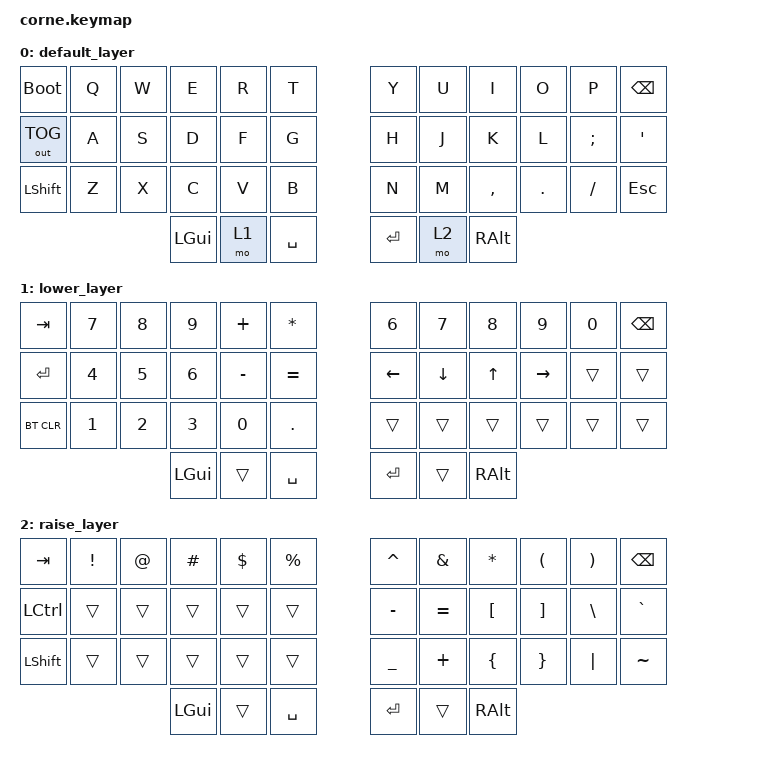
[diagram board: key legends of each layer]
// #include "../../../corne.keymap"

/*
 * Copyright (c) 2020 The ZMK Contributors
 *
 * SPDX-License-Identifier: MIT
 */

#include <behaviors.dtsi>
#include <dt-bindings/zmk/keys.h>
#include <dt-bindings/zmk/bt.h>
#include <dt-bindings/zmk/outputs.h>

/ {
        keymap {
                compatible = "zmk,keymap";

                default_layer {
// -----------------------------------------------------------------------------------------
// |  TAB |  Q  |  W  |  E  |  R  |  T  |   |  Y  |  U   |  I  |  O  |  P  | BKSP |
// | CTRL |  A  |  S  |  D  |  F  |  G  |   |  H  |  J   |  K  |  L  |  ;  |  '   |
// | SHFT |  Z  |  X  |  C  |  V  |  B  |   |  N  |  M   |  ,  |  .  |  /  | ESC  |
//                    | GUI | LWR | SPC |   | ENT | RSE  | ALT |
                        bindings = <
   &bootloader   &kp Q &kp W &kp E &kp R &kp T   &kp Y &kp U  &kp I     &kp O   &kp P    &kp BSPC
   &out OUT_TOG &kp A &kp S &kp D &kp F &kp G   &kp H &kp J  &kp K     &kp L   &kp SEMI &kp SQT
   &kp LSHFT &kp Z &kp X &kp C &kp V &kp B   &kp N &kp M  &kp COMMA &kp DOT &kp FSLH &kp ESC
                  &kp LGUI &mo 1 &kp SPACE   &kp RET &mo 2 &kp RALT
                        >;
                };
                lower_layer {
// -----------------------------------------------------------------------------------------
// |  TAB |  7  |  8  |  9  |  +  |  *  |   |  6  |  7  |  8  |  9  |  0  | BKSP |
// | RET  |  4  |  5  |  6  |  -  |  =  |   | LFT | DWN |  UP | RGT |     |      |
// | BTCLR|  1  |  2  |  3  |  0  |  .  |   |     |     |     |     |     |      |
//                    | GUI |     | SPC |   | ENT |     | ALT |
                        bindings = <
   &kp TAB    &kp N7       &kp N8       &kp N9       &kp PLUS     &kp ASTRK      &kp N6   &kp N7   &kp N8 &kp N9    &kp N0 &kp BSPC
   &kp RET    &kp N4       &kp N5       &kp N6       &kp MINUS    &kp EQUAL      &kp LEFT &kp DOWN &kp UP &kp RIGHT &trans &trans
   &bt BT_CLR &kp N1       &kp N2       &kp N3       &kp N0       &kp DOT        &trans   &trans   &trans &trans    &trans &trans
                                    &kp LGUI     &trans       &kp SPACE      &kp RET  &trans   &kp RALT
                        >;
                };

                raise_layer {
// -----------------------------------------------------------------------------------------
// |  TAB |  !  |  @  |  #  |  $  |  %  |   |  ^  |  &  |  *  |  (  |  )  | BKSP |
// | CTRL |     |     |     |     |     |   |  -  |  =  |  [  |  ]  |  \  |  `   |
// | SHFT |     |     |     |     |     |   |  _  |  +  |  {  |  }  | "|" |  ~   |
//                    | GUI |     | SPC |   | ENT |     | ALT |
                        bindings = <
   &kp  TAB  &kp EXCL &kp AT &kp HASH &kp DLLR &kp PRCNT   &kp CARET &kp AMPS  &kp ASTRK &kp LPAR &kp RPAR &kp BSPC
   &kp LCTRL &trans   &trans &trans   &trans   &trans      &kp MINUS &kp EQUAL &kp LBKT  &kp RBKT &kp BSLH &kp GRAVE
   &kp LSHFT &trans   &trans &trans   &trans   &trans      &kp UNDER &kp PLUS  &kp LBRC  &kp RBRC &kp PIPE &kp TILDE
                             &kp LGUI &trans   &kp SPACE   &kp RET   &trans    &kp RALT
                        >;
                };
        };
};
